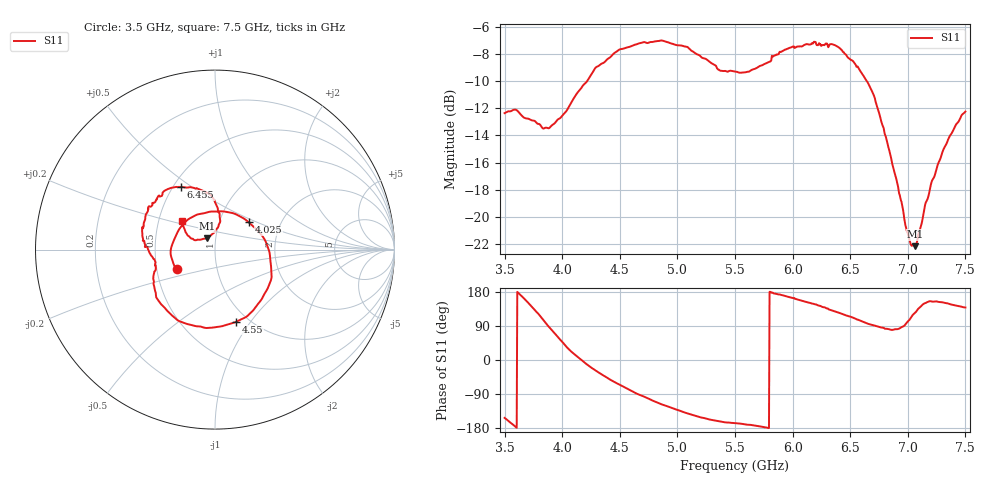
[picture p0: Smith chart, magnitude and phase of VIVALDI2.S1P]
!Agilent Technologies,E5071B,MY42403545,A.09.10
!Date: Thu Jul 11 04:54:06 2019
!Data & Calibration Information:
!Freq	S11:SOLT1(ON)
# Hz S dB R 50
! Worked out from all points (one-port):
!   801 points, 3.5 GHz to 7.5 GHz, reference 50 ohm
!   lowest |S11| = -22.2 dB at 7.065 GHz (marker M1), VSWR 1.17, Z = 45.3 + j5.79 ohm
!   |S11| at or under -10 dB: start of sweep to 4.217 GHz; 6.643 GHz to end of sweep
!   S11 on the Smith chart (normalised r, x): 3.5 GHz: 0.63, -0.15; 4.025 GHz: 1.38, +0.44; 4.55 GHz: 0.88, -0.86; 6.455 GHz: 0.55, +0.45; 7.5 GHz: 0.66, +0.23
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3.5e9  -12.37 -152.7
3.605e9  -12.15 -178.9
3.71e9  -12.79 149.2
3.855e9  -13.44 98.6
4e9  -12.56 48.0
4.025e9  -12.33 38.8
4.135e9  -10.83 8.0
4.27e9  -9.28 -23.6
4.5e9  -7.67 -65.4
4.55e9  -7.56 -73.4
4.72e9  -7.15 -98.1
4.855e9  -7.02 -116.1
5e9  -7.37 -131.6
5.095e9  -7.56 -141.6
5.285e9  -8.63 -157.4
5.5e9  -9.30 -166.5
5.76e9  -8.74 -177.4
6e9  -7.48 163.8
6.19e9  -7.12 147.4
6.345e9  -7.30 130.4
6.455e9  -8.01 118.7
6.5e9  -8.41 114.6
6.71e9  -11.17 90.8
6.855e9  -15.66 79.7
7e9  -21.21 101.5
7.065e9  -22.15 125.5
7.3e9  -15.25 152.4
7.5e9  -12.25 138.6
